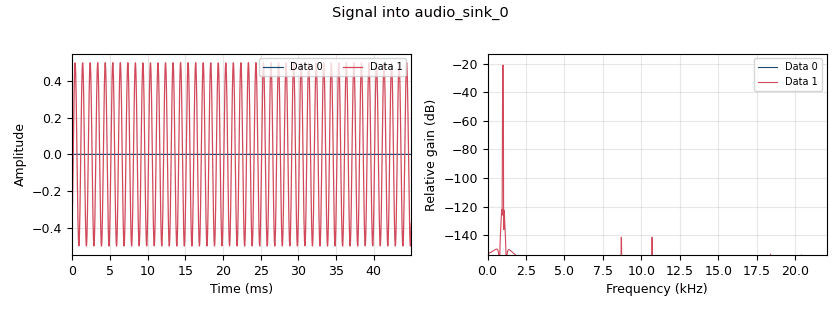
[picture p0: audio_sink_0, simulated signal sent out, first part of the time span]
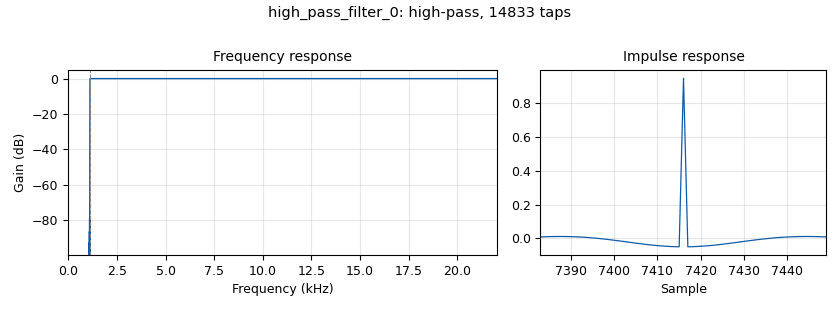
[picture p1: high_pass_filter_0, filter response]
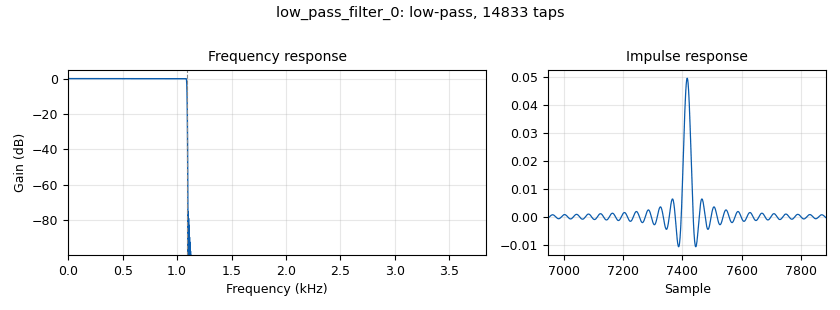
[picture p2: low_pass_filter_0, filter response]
<?xml version='1.0' encoding='utf-8'?>
<?grc format='1' created='3.7.13'?>
<flow_graph>
<block>
<key>options</key>
<param><key>id</key><value>THD_analyser</value></param>
<param><key>author</key><value>Jenny List</value></param>
<param><key>description</key><value>A simple single-frequency THD analyser for audio work</value></param>
<param><key>generate_options</key><value>qt_gui</value></param>
<param><key>title</key><value>THD Analyser</value></param>
</block>
<block>
<key>variable</key>
<param><key>id</key><value>cut_off</value></param>
<param><key>value</key><value>frequency/10</value></param>
</block>
<block>
<key>variable</key>
<param><key>id</key><value>frequency</value></param>
<param><key>value</key><value>1000</value></param>
</block>
<block>
<key>variable</key>
<param><key>id</key><value>samp_rate</value></param>
<param><key>value</key><value>44100</value></param>
</block>
<block>
<key>variable</key>
<param><key>id</key><value>transition_width</value></param>
<param><key>value</key><value>cut_off/10</value></param>
</block>
<block>
<key>analog_sig_source_x</key>
<param><key>id</key><value>analog_sig_source_x_0</value></param>
<param><key>amp</key><value>0.5</value></param>
<param><key>freq</key><value>frequency</value></param>
<param><key>offset</key><value>0</value></param>
<param><key>type</key><value>float</value></param>
<param><key>samp_rate</key><value>samp_rate</value></param>
<param><key>waveform</key><value>analog.GR_SIN_WAVE</value></param>
</block>
<block>
<key>audio_sink</key>
<param><key>id</key><value>audio_sink_0</value></param>
<param><key>num_inputs</key><value>2</value></param>
<param><key>samp_rate</key><value>samp_rate</value></param>
</block>
<block>
<key>audio_source</key>
<param><key>id</key><value>audio_source_0</value></param>
<param><key>num_outputs</key><value>2</value></param>
<param><key>samp_rate</key><value>samp_rate</value></param>
</block>
<block>
<key>blocks_divide_xx</key>
<param><key>id</key><value>blocks_divide_xx_0</value></param>
<param><key>type</key><value>float</value></param>
</block>
<block>
<key>blocks_multiply_const_vxx</key>
<param><key>id</key><value>blocks_multiply_const_vxx_0</value></param>
<param><key>const</key><value>100</value></param>
<param><key>type</key><value>float</value></param>
</block>
<block>
<key>blocks_null_sink</key>
<param><key>id</key><value>blocks_null_sink_0</value></param>
<param><key>bus_conns</key><value>[[0,],]</value></param>
<param><key>type</key><value>float</value></param>
</block>
<block>
<key>blocks_null_source</key>
<param><key>id</key><value>blocks_null_source_0</value></param>
<param><key>bus_conns</key><value>[[0,],]</value></param>
<param><key>type</key><value>float</value></param>
</block>
<block>
<key>blocks_rms_xx</key>
<param><key>id</key><value>blocks_rms_xx_0</value></param>
<param><key>alpha</key><value>0.0001</value></param>
<param><key>type</key><value>float</value></param>
</block>
<block>
<key>blocks_rms_xx</key>
<param><key>id</key><value>blocks_rms_xx_0_0</value></param>
<param><key>alpha</key><value>0.0001</value></param>
<param><key>type</key><value>float</value></param>
</block>
<block>
<key>dc_blocker_xx</key>
<param><key>id</key><value>dc_blocker_xx_0</value></param>
<param><key>length</key><value>32</value></param>
<param><key>long_form</key><value>True</value></param>
<param><key>type</key><value>ff</value></param>
</block>
<block>
<key>dc_blocker_xx</key>
<param><key>id</key><value>dc_blocker_xx_0_0</value></param>
<param><key>length</key><value>32</value></param>
<param><key>long_form</key><value>True</value></param>
<param><key>type</key><value>ff</value></param>
</block>
<block>
<key>high_pass_filter</key>
<param><key>id</key><value>high_pass_filter_0</value></param>
<param><key>cutoff_freq</key><value>frequency+cut_off+(transition_width*1.1)</value></param>
<param><key>decim</key><value>1</value></param>
<param><key>type</key><value>fir_filter_fff</value></param>
<param><key>gain</key><value>1</value></param>
<param><key>samp_rate</key><value>samp_rate</value></param>
<param><key>width</key><value>transition_width</value></param>
<param><key>win</key><value>firdes.WIN_BLACKMAN</value></param>
</block>
<block>
<key>low_pass_filter</key>
<param><key>id</key><value>low_pass_filter_0</value></param>
<param><key>cutoff_freq</key><value>frequency+cut_off-transition_width</value></param>
<param><key>decim</key><value>1</value></param>
<param><key>type</key><value>fir_filter_fff</value></param>
<param><key>gain</key><value>1</value></param>
<param><key>samp_rate</key><value>samp_rate</value></param>
<param><key>width</key><value>transition_width</value></param>
<param><key>win</key><value>firdes.WIN_BLACKMAN</value></param>
</block>
<block>
<key>qtgui_number_sink</key>
<param><key>id</key><value>qtgui_number_sink_0</value></param>
<param><key>graph_type</key><value>qtgui.NUM_GRAPH_HORIZ</value></param>
<param><key>type</key><value>float</value></param>
</block>
<connection><source_block_id>analog_sig_source_x_0</source_block_id><sink_block_id>audio_sink_0</sink_block_id><source_key>0</source_key><sink_key>1</sink_key></connection>
<connection><source_block_id>audio_source_0</source_block_id><sink_block_id>high_pass_filter_0</sink_block_id><source_key>0</source_key><sink_key>0</sink_key></connection>
<connection><source_block_id>audio_source_0</source_block_id><sink_block_id>low_pass_filter_0</sink_block_id><source_key>0</source_key><sink_key>0</sink_key></connection>
<connection><source_block_id>audio_source_0</source_block_id><sink_block_id>blocks_null_sink_0</sink_block_id><source_key>1</source_key><sink_key>0</sink_key></connection>
<connection><source_block_id>blocks_divide_xx_0</source_block_id><sink_block_id>blocks_multiply_const_vxx_0</sink_block_id><source_key>0</source_key><sink_key>0</sink_key></connection>
<connection><source_block_id>blocks_multiply_const_vxx_0</source_block_id><sink_block_id>qtgui_number_sink_0</sink_block_id><source_key>0</source_key><sink_key>0</sink_key></connection>
<connection><source_block_id>blocks_null_source_0</source_block_id><sink_block_id>audio_sink_0</sink_block_id><source_key>0</source_key><sink_key>0</sink_key></connection>
<connection><source_block_id>blocks_rms_xx_0</source_block_id><sink_block_id>blocks_divide_xx_0</sink_block_id><source_key>0</source_key><sink_key>1</sink_key></connection>
<connection><source_block_id>blocks_rms_xx_0_0</source_block_id><sink_block_id>blocks_divide_xx_0</sink_block_id><source_key>0</source_key><sink_key>0</sink_key></connection>
<connection><source_block_id>dc_blocker_xx_0</source_block_id><sink_block_id>blocks_rms_xx_0_0</sink_block_id><source_key>0</source_key><sink_key>0</sink_key></connection>
<connection><source_block_id>dc_blocker_xx_0_0</source_block_id><sink_block_id>blocks_rms_xx_0</sink_block_id><source_key>0</source_key><sink_key>0</sink_key></connection>
<connection><source_block_id>high_pass_filter_0</source_block_id><sink_block_id>dc_blocker_xx_0</sink_block_id><source_key>0</source_key><sink_key>0</sink_key></connection>
<connection><source_block_id>low_pass_filter_0</source_block_id><sink_block_id>dc_blocker_xx_0_0</sink_block_id><source_key>0</source_key><sink_key>0</sink_key></connection>
</flow_graph>
